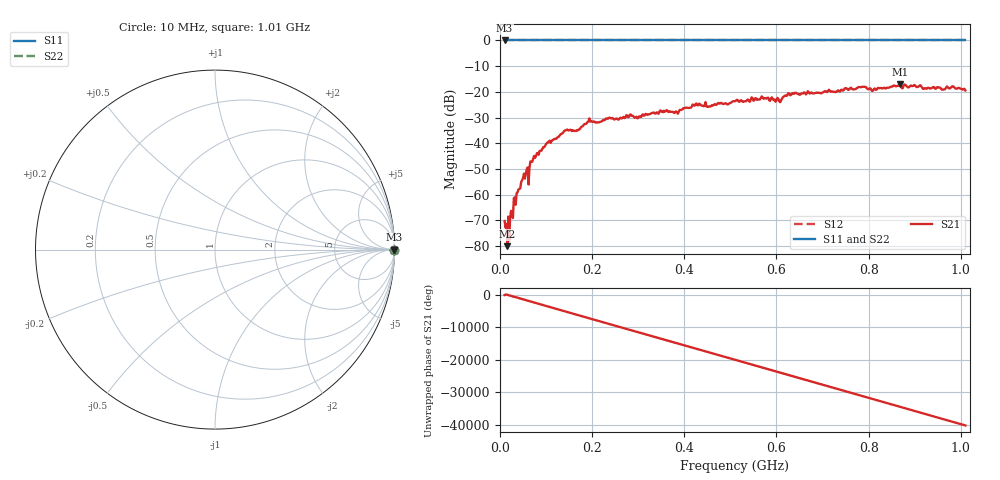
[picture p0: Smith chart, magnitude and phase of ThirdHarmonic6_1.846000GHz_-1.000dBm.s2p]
! 8/16/2025 10:20:38 PM
! C:\ANRITSUVNA\TEMP\TEMP.S2P
! CHANNEL.1
! TR.MEASUREMENT
! RAW.DATA
! RF.CORRECTION.OFF
! AVERAGING.OFF
! IF.BANDWIDTH: 5KHZ
! SWEEPTYPE:  FREQ.SWEEP(Linear)
! Reference Plane Port Info
! PORT:  PORT1  PORT2
! DISTANCE:  0  m  0  m
! TIME:  0  s  0  s
! PHASE.OFFSET:  0  deg.  0  deg.
! LOSS:  0  dB  0  dB
! REF.LOSS:  0  dB  0  dB
! REF.FREQ:  0  Hz  0  Hz
! Power Info
! POWER:  -20  dBm  -20  dBm
! EFF.POWER:  -20  dBm  -20  dBm
! SOURCE.ATTEN:  0  dB  0  dB
! TEST.ATTEN:  0  dB  0  dB
# GHZ S RI R 50.0
! FREQ.GHZ  S11RE  S11IM  S21RE  S21IM  S12RE  S12IM  S22RE  S22IM
!; PortSelection: Port_12
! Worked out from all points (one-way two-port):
!   501 points, 10 MHz to 1.01 GHz, reference 50 ohm
!   highest |S21| = -16.89 dB at 868 MHz (marker M1); lowest = -80.0 dB at 16 MHz (marker M2)
!   lowest |S11| = 0.0 dB at 10 MHz (marker M3)
!   |S11| at or under -10 dB: nowhere
!   |S22| runs from 0.0 to 0.0 dB; largest |S21 - S12| = 1.1
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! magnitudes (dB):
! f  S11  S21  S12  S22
! 10 MHz  0.0  -70.2  0.0  0.0
! 16 MHz  0.0  -80.0  0.0  0.0
! 24 MHz  0.0  -66.3  0.0  0.0
! 26 MHz  0.0  -67.8  0.0  0.0
! 34 MHz  0.0  -63.9  0.0  0.0
! 56 MHz  0.0  -51.7  0.0  0.0
! 58 MHz  0.0  -50.2  0.0  0.0
! 66 MHz  0.0  -47.0  0.0  0.0
! 70 MHz  0.0  -47.2  0.0  0.0
! 104 MHz  0.0  -39.7  0.0  0.0
! 142 MHz  0.0  -35.0  0.0  0.0
! 178 MHz  0.0  -33.4  0.0  0.0
! 194 MHz  0.0  -30.3  0.0  0.0
! 344 MHz  0.0  -28.5  0.0  0.0
! 382 MHz  0.0  -27.6  0.0  0.0
! 510 MHz  0.0  -23.6  0.0  0.0
! 608 MHz  0.0  -24.0  0.0  0.0
! 638 MHz  0.0  -20.8  0.0  0.0
! 678 MHz  0.0  -20.6  0.0  0.0
! 844 MHz  0.0  -18.4  0.0  0.0
! 868 MHz  0.0  -16.9  0.0  0.0
! 1.01 GHz  0.0  -19.4  0.0  0.0
